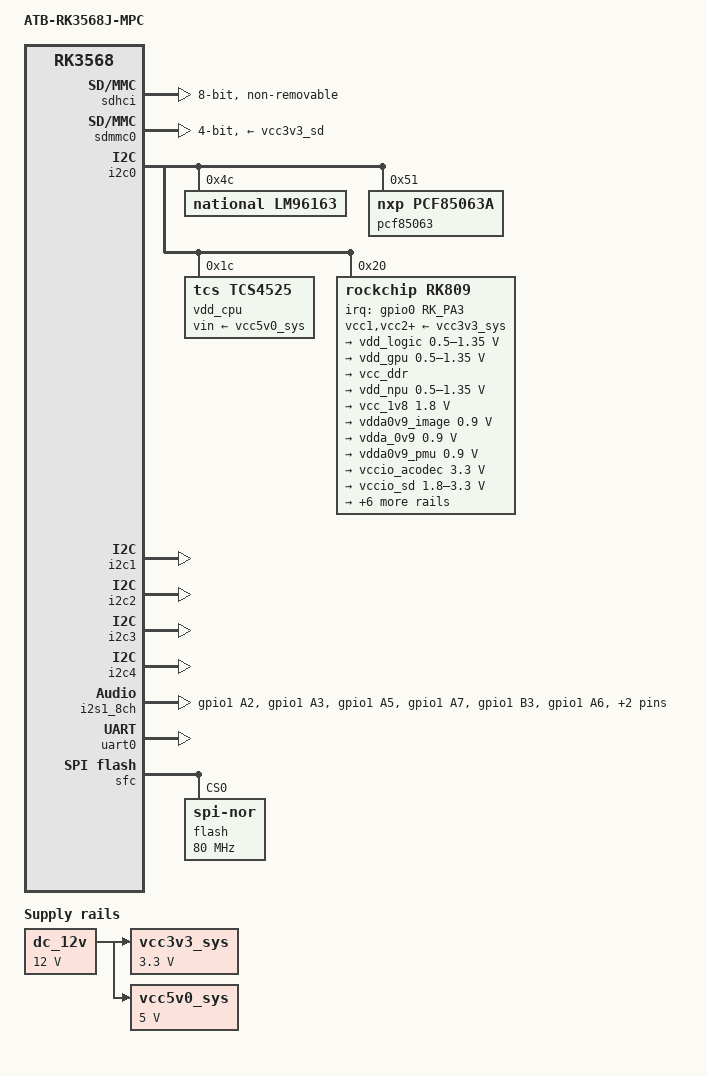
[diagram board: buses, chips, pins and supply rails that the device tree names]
/dts-v1/;
#include <dt-bindings/gpio/gpio.h>
#include <dt-bindings/leds/common.h>
#include <dt-bindings/pinctrl/rockchip.h>
#include "rk3568.dtsi"

#include "canfd-mpc.dtsi"
#include "ethernet-mpc.dtsi"
#include "pcie-mpc.dtsi"
#include "usb-sata-pcie-mpc.dtsi"
#include "wireless-mpc.dtsi"

/ {
	compatible = "atb,atb-rk3568j-mpc", "rockchip,rk3568";
    
	model = "ATB-RK3568J-MPC";

	aliases {
		ethernet0 = &gmac0;
		ethernet1 = &gmac1;
        mmc0 = &sdhci;
		mmc1 = &sdmmc0;
	};

	chosen: chosen {
		bootargs = "earlycon=uart8250,mmio32,0xfe660000 console=ttyFIQ0 root=/dev/mmcblk1p2 rootfstype=ext4 ro rootwait";
	};

	fiq-debugger {
		compatible = "rockchip,fiq-debugger";
		rockchip,serial-id = <2>;
		rockchip,wake-irq = <0>;
		/* If enable uart uses irq instead of fiq */
		rockchip,irq-mode-enable = <1>;
		rockchip,baudrate = <115200>;  /* Only 115200 and 1500000 */
		interrupts = <GIC_SPI 252 IRQ_TYPE_LEVEL_LOW>;
		pinctrl-names = "default";
		pinctrl-0 = <&uart2m0_xfer>;
		status = "okay";
	};

	dc_12v: dc-12v {
		compatible = "regulator-fixed";
		regulator-name = "dc_12v";
		regulator-always-on;
		regulator-boot-on;
		regulator-min-microvolt = <12000000>;
		regulator-max-microvolt = <12000000>;
	};

	rk809-sound {
		compatible = "simple-audio-card";
		simple-audio-card,format = "i2s";
		simple-audio-card,name = "Analog RK809";
		simple-audio-card,mclk-fs = <256>;

		simple-audio-card,cpu {
			sound-dai = <&i2s1_8ch>;
		};
		simple-audio-card,codec {
			sound-dai = <&rk809>;
		};
	};

	vcc3v3_sys: vcc3v3-sys {
		compatible = "regulator-fixed";
		regulator-name = "vcc3v3_sys";
		regulator-always-on;
		regulator-boot-on;
		regulator-min-microvolt = <3300000>;
		regulator-max-microvolt = <3300000>;
		vin-supply = <&dc_12v>;
	};

	vcc5v0_sys: vcc5v0-sys {
		compatible = "regulator-fixed";
		regulator-name = "vcc5v0_sys";
		regulator-always-on;
		regulator-boot-on;
		regulator-min-microvolt = <5000000>;
		regulator-max-microvolt = <5000000>;
		vin-supply = <&dc_12v>;
	};
};

&cpu0 {
	cpu-supply = <&vdd_cpu>;
};

&cpu1 {
	cpu-supply = <&vdd_cpu>;
};

&cpu2 {
	cpu-supply = <&vdd_cpu>;
};

&cpu3 {
	cpu-supply = <&vdd_cpu>;
};

/*
 *	There are 10 independent IO domains in RK3566/RK3568, including PMUIO[0:2] and VCCIO[1:7].
 *	1/ PMUIO0 and PMUIO1 are fixed-level power domains which cannot be configured;
 *	2/ PMUIO2 and VCCIO1,VCCIO[3:7] domains require that their hardware power supply voltages
 *		must be consistent with the software configuration correspondingly
 *		a/ When the hardware IO level is connected to 1.8V, the software voltage configuration
 *			should also be configured to 1.8V accordingly;
 *		b/ When the hardware IO level is connected to 3.3V, the software voltage configuration
 *			should also be configured to 3.3V accordingly;
 *	3/ VCCIO2 voltage control selection (0xFDC20140)
 *	BIT[0]: 0x0: from GPIO_0A7 (default)
 *	BIT[0]: 0x1: from GRF
 *	Default is determined by Pin FLASH_VOL_SEL/GPIO0_A7:
 *	L:VCCIO2 must supply 3.3V
 *	H:VCCIO2 must supply 1.8V
 */
&pmu_io_domains {
	pmuio1-supply = <&vcc3v3_pmu>;
	pmuio2-supply = <&vcc3v3_pmu>;
	vccio1-supply = <&vcc_3v3>;
	vccio2-supply = <&vcc_1v8>;
	vccio3-supply = <&vccio_sd>;
//	vccio4-supply should be set in vcc_3v3 but it doesn't work at all
	vccio4-supply = <&vcc_1v8>;
	vccio5-supply = <&vcc_3v3>;
	vccio6-supply = <&vcc_3v3>;
//	vccio7-supply should be set in vcc_3v3 but it doesn't work at all
	vccio7-supply = <&vcc_1v8>;
	status = "okay";
};

/* EMMC0 - D15 */
&sdhci {
	bus-width = <8>;
	max-frequency = <200000000>;
	non-removable;
	pinctrl-names = "default";
	pinctrl-0 = <&emmc_bus8 &emmc_clk &emmc_cmd &emmc_datastrobe>;
	status = "okay";
};

/* SDMMC0 - X21 */
&sdmmc0 {
	max-frequency = <50000000>;
	supports-sd;
	bus-width = <4>;
	cap-mmc-highspeed;
	cap-sd-highspeed;
	disable-wp;
	sd-uhs-sdr104;
	vmmc-supply = <&vcc3v3_sd>;
	vqmmc-supply = <&vccio_sd>;
	pinctrl-names = "default";
	pinctrl-0 = <&sdmmc0_bus4 &sdmmc0_clk &sdmmc0_cmd &sdmmc0_det>;
	status = "okay";
};

&i2c0 {
	pinctrl-0 = <&i2c0_xfer>;
	pinctrl-names = "default";

	status = "okay";

	// D21
	lm96163@4c {
		compatible = "national,lm96163";
		reg = <0x4c>;
	};

	// D24
	pcf85063: rtc@51 {
		compatible = "nxp,pcf85063a";
		reg = <0x51>;
		quartz-load-femtofarads = <12500>;

		rtc_clock: rtc_clock {
			compatible = "fixed-clock";
			#clock-cells = <0>;
			clock-frequency = <32768>;
		};
	};

	// D18
	vdd_cpu: regulator@1c {
		compatible = "tcs,tcs4525";
		reg = <0x1c>;
		fcs,suspend-voltage-selector = <1>;
		regulator-name = "vdd_cpu";
		regulator-always-on;
		regulator-boot-on;
		regulator-min-microvolt = <800000>;
		regulator-max-microvolt = <1150000>;
		regulator-ramp-delay = <2300>;
		vin-supply = <&vcc5v0_sys>;

		regulator-state-mem {
			regulator-off-in-suspend;
		};
	};

	// D17
	rk809: pmic@20 {
		compatible = "rockchip,rk809";
		reg = <0x20>;
		interrupt-parent = <&gpio0>;
/*
		PMIC_INT_
*/
		interrupts = <RK_PA3 IRQ_TYPE_LEVEL_LOW>;
		assigned-clocks = <&cru I2S1_MCLKOUT_TX>;
		assigned-clock-parents = <&cru CLK_I2S1_8CH_TX>;
		#clock-cells = <1>;
		clock-names = "mclk";
		clocks = <&cru I2S1_MCLKOUT_TX>;
		pinctrl-names = "default";
		pinctrl-0 = <&pmic_int_pin>, <&i2s1m0_mclk>;
		rockchip,system-power-controller;
		#sound-dai-cells = <0>;
		vcc1-supply = <&vcc3v3_sys>;
		vcc2-supply = <&vcc3v3_sys>;
		vcc3-supply = <&vcc3v3_sys>;
		vcc4-supply = <&vcc3v3_sys>;
		vcc5-supply = <&vcc3v3_sys>;
		vcc6-supply = <&vcc3v3_sys>;
		vcc7-supply = <&vcc3v3_sys>;
		vcc8-supply = <&vcc3v3_sys>;
		vcc9-supply = <&vcc3v3_sys>;
		wakeup-source;

		regulators {
			vdd_logic: DCDC_REG1 {
				regulator-name = "vdd_logic";
				regulator-always-on;
				regulator-boot-on;
				regulator-init-microvolt = <900000>;
				regulator-initial-mode = <0x2>;
				regulator-min-microvolt = <500000>;
				regulator-max-microvolt = <1350000>;
				regulator-ramp-delay = <6001>;

				regulator-state-mem {
					regulator-off-in-suspend;
				};
			};

			vdd_gpu: DCDC_REG2 {
				regulator-name = "vdd_gpu";
				regulator-always-on;
				regulator-init-microvolt = <900000>;
				regulator-initial-mode = <0x2>;
				regulator-min-microvolt = <500000>;
				regulator-max-microvolt = <1350000>;
				regulator-ramp-delay = <6001>;

				regulator-state-mem {
					regulator-off-in-suspend;
				};
			};

			vcc_ddr: DCDC_REG3 {
				regulator-name = "vcc_ddr";
				regulator-always-on;
				regulator-boot-on;
				regulator-initial-mode = <0x2>;

				regulator-state-mem {
					regulator-on-in-suspend;
				};
			};

			vdd_npu: DCDC_REG4 {
				regulator-name = "vdd_npu";
				regulator-init-microvolt = <900000>;
				regulator-initial-mode = <0x2>;
				regulator-min-microvolt = <500000>;
				regulator-max-microvolt = <1350000>;
				regulator-ramp-delay = <6001>;

				regulator-state-mem {
					regulator-off-in-suspend;
				};
			};

			vcc_1v8: DCDC_REG5 {
				regulator-name = "vcc_1v8";
				regulator-always-on;
				regulator-boot-on;
				regulator-min-microvolt = <1800000>;
				regulator-max-microvolt = <1800000>;

				regulator-state-mem {
					regulator-off-in-suspend;
				};
			};

			vdda0v9_image: LDO_REG1 {
				regulator-boot-on;
				regulator-always-on;
				regulator-min-microvolt = <900000>;
				regulator-max-microvolt = <900000>;
				regulator-name = "vdda0v9_image";
				regulator-state-mem {
					regulator-off-in-suspend;
				};
			};

			vdda_0v9: LDO_REG2 {
				regulator-name = "vdda_0v9";
				regulator-always-on;
				regulator-boot-on;
				regulator-min-microvolt = <900000>;
				regulator-max-microvolt = <900000>;

				regulator-state-mem {
					regulator-off-in-suspend;
				};
			};

			vdda0v9_pmu: LDO_REG3 {
				regulator-name = "vdda0v9_pmu";
				regulator-always-on;
				regulator-boot-on;
				regulator-min-microvolt = <900000>;
				regulator-max-microvolt = <900000>;

				regulator-state-mem {
					regulator-on-in-suspend;
					regulator-suspend-microvolt = <900000>;
				};
			};

			vccio_acodec: LDO_REG4 {
				regulator-name = "vccio_acodec";
				regulator-always-on;
				regulator-min-microvolt = <3300000>;
				regulator-max-microvolt = <3300000>;

				regulator-state-mem {
					regulator-off-in-suspend;
				};
			};

			vccio_sd: LDO_REG5 {
				regulator-name = "vccio_sd";
				regulator-always-on;
				regulator-boot-on;
				regulator-min-microvolt = <1800000>;
				regulator-max-microvolt = <3300000>;

				regulator-state-mem {
					regulator-off-in-suspend;
				};
			};

			vcc3v3_pmu: LDO_REG6 {
				regulator-name = "vcc3v3_pmu";
				regulator-always-on;
				regulator-boot-on;
				regulator-min-microvolt = <3300000>;
				regulator-max-microvolt = <3300000>;

				regulator-state-mem {
					regulator-on-in-suspend;
					regulator-suspend-microvolt = <3300000>;
				};
			};

			vcca_1v8: LDO_REG7 {
				regulator-name = "vcca_1v8";
				regulator-always-on;
				regulator-boot-on;
				regulator-min-microvolt = <1800000>;
				regulator-max-microvolt = <1800000>;

				regulator-state-mem {
					regulator-off-in-suspend;
				};
			};

			vcca1v8_pmu: LDO_REG8 {
				regulator-name = "vcca1v8_pmu";
				regulator-always-on;
				regulator-boot-on;
				regulator-min-microvolt = <1800000>;
				regulator-max-microvolt = <1800000>;

				regulator-state-mem {
					regulator-on-in-suspend;
					regulator-suspend-microvolt = <1800000>;
				};
			};

			vcca1v8_image: LDO_REG9 {
				regulator-always-on;
				regulator-boot-on;
				regulator-min-microvolt = <1800000>;
				regulator-max-microvolt = <1800000>;
				regulator-name = "vcca1v8_image";
				regulator-state-mem {
					regulator-off-in-suspend;
				};
			};

			vcc_3v3: SWITCH_REG1 {
				regulator-name = "vcc_3v3";
				regulator-always-on;
				regulator-boot-on;

				regulator-state-mem {
					regulator-off-in-suspend;
				};
			};

			vcc3v3_sd: SWITCH_REG2 {
				regulator-name = "vcc3v3_sd";

				regulator-state-mem {
					regulator-off-in-suspend;
				};
			};
		};

		codec {
			mic-in-differential;
		};
	};
};

&i2c1 {
	pinctrl-0 = <&i2c1_xfer>;
	pinctrl-names = "default";
	status = "okay";
};

&i2c2 {
	pinctrl-0 = <&i2c2m0_xfer>;
	pinctrl-names = "default";
	status = "okay";
};

&i2c3 {
	pinctrl-0 = <&i2c3m0_xfer>;
	pinctrl-names = "default";
	status = "okay";
};

&i2c4 {
	pinctrl-0 = <&i2c4m0_xfer>;
	pinctrl-names = "default";
	status = "okay";
};

&i2s0_8ch {
	status = "disabled";
};

&i2s1_8ch {
	rockchip,trcm-sync-tx-only;
	pinctrl-0 = <	&pmic_audio_mclk
					&pmic_audio_sclk
					&pmic_audio_lrck
					&pmic_audio_sdi
					&pmic_audio_sdo
					&pmic_audio_pdmclk
					&bt_audio_sdi
					&bt_audio_sdo>;
	pinctrl-names = "default";

	status = "okay";
};

&uart0 {
	pinctrl-0 = <&uart0_xfer &uart0_ctsn &uart0_rtsn>;
	status = "okay";
};

&uart1 {
	pinctrl-0 = <&uart1m1_xfer &uart1m1_ctsn &uart1m1_rtsn>;
	// This interface is used to communicate with WIFI&BT A1
	status = "disabled";
};

&uart2 {
/*
	UART2_TX -> R287 -> D22 (UART-RS232) -> X32.3
	UART2_RX <- R288 <- D22 (UART-RS232) <- X32.6
*/
	pinctrl-0 = <&uart2m0_xfer>;
	pinctrl-names = "default";
	status = "disabled";
};

&uart5 {
	// This interface is used to communicate with GNSS A2
	pinctrl-0 = <&uart5m1_xfer>;
	pinctrl-names = "default";
	status = "disabled";
};

&uart8 {
/*
	UART8_TX -> R289 -> D22 (UART-RS232) -> X32.3
	UART8_RX <- R290 <- D22 (UART-RS232) <- X32.6
*/
	pinctrl-0 = <&uart8m1_xfer>;
	pinctrl-names = "default";
	status = "disabled";
};

&uart9 {
/*
	UART9_TX -> R291 -> D22 (UART-RS232) -> X32.1
	UART9_RX <- R292 <- D22 (UART-RS232) <- X32.8
*/
	pinctrl-0 = <&uart9m1_xfer>;
	pinctrl-names = "default";
	status = "disabled";
};

&spi0 {
	max-freq = <48000000>;
	pinctrl-names = "default";
	pinctrl-0 = <&spi0m1_pins &spi0m1_cs0>;

	// This interface doesn't have output
	status = "disabled";

	spi_test0@0 {
		compatible = "rockchip,spidev";
		reg = <0>;
		spi-max-frequency = <48000000>;
	};
};

&spi1 {
	max-freq = <48000000>;
	pinctrl-names = "default";
	pinctrl-0 = <&spi1m1_pins &spi1m1_cs0>;

	// This interface doesn't have output
	status = "disabled";

	spi_test1@0 {
		compatible = "rockchip,spidev";
		reg = <0>;
		spi-max-frequency = <48000000>;
	};
};

&spi2 {
	max-freq = <48000000>;
	pinctrl-names = "default";
	pinctrl-0 = <&spi2m0_pins &spi2m0_cs0 &spi2m0_cs1>;

	// This interface doesn't have output
	status = "disabled";

	spi_test21@0 {
		compatible = "rockchip,spidev";
		reg = <0>;
		spi-max-frequency = <48000000>;
	};

	spi_test22@1 {
		compatible = "rockchip,spidev";
		reg = <1>;
		spi-max-frequency = <48000000>;
	};
};

&spi3 {
	max-freq = <48000000>;
	pinctrl-names = "default";
	pinctrl-0 = <&spi3m1_pins &spi3m1_cs0>;

	// This interface doesn't have output
	status = "disabled";

	spi_test3@0 {
		compatible = "rockchip,spidev";
		reg = <0>;
		spi-max-frequency = <48000000>;
	};
};

&sfc {
	pinctrl-names = "default";
	pinctrl-0 = <&fspi_pins>;
	status = "okay";

		flash@0 {
//			compatible = "spi-nand";
//			compatible = "jedec,spi-nor";
			compatible = "spi-nor";
			reg = <0>;
			spi-max-frequency = <80000000>;
			spi-rx-bus-width = <4>;
			spi-tx-bus-width = <1>;
		};
};

&pinctrl {
	pmic {
		pmic_int_pin: pmic-int-pin {
			// PMIC_INT_
			rockchip,pins = <0 RK_PA3 RK_FUNC_GPIO &pcfg_pull_up>;
		};
	};

	pmic_audio {
		pmic_audio_mclk:pmic_audio_mclk {
			/* i2s1m0_mclk */
			rockchip,pins = <1 RK_PA2 1 &pcfg_pull_none>;
		};

		pmic_audio_sclk:pmic_audio_sclk {
			/* i2s1m0_sclktx */
			rockchip,pins = <1 RK_PA3 1 &pcfg_pull_none>;
		};

		pmic_audio_lrck:pmic_audio_lrck {
			/* i2s1m0_lrcktx */
			rockchip,pins = <1 RK_PA5 1 &pcfg_pull_none>;
		};

		pmic_audio_sdi:pmic_audio_sdi {
			/* i2s1m0_sdo0 */
			rockchip,pins = <1 RK_PA7 1 &pcfg_pull_none>;
		};

		pmic_audio_sdo:pmic_audio_sdo {
			/* i2s1m0_sdi0 */
			rockchip,pins = <1 RK_PB3 1 &pcfg_pull_none>;
		};

		pmic_audio_pdmclk:pmic_audio_pdmclk {
			/* i2s1m0_lrckrx */
			rockchip,pins = <1 RK_PA6 1 &pcfg_pull_none>;
		};
	};

	bt_audio {
		bt_audio_sdi:bt_audio_sdi {
			/* i2s1m1_sdi2 */
			rockchip,pins = <3 RK_PD4 4 &pcfg_pull_none>;
		};

		bt_audio_sdo:bt_audio_sdo {
			/* i2s1m0_sdi1 */
			rockchip,pins = <1 RK_PB2 2 &pcfg_pull_none>;
		};
	};
};

#include "video-mpc.dtsi"
